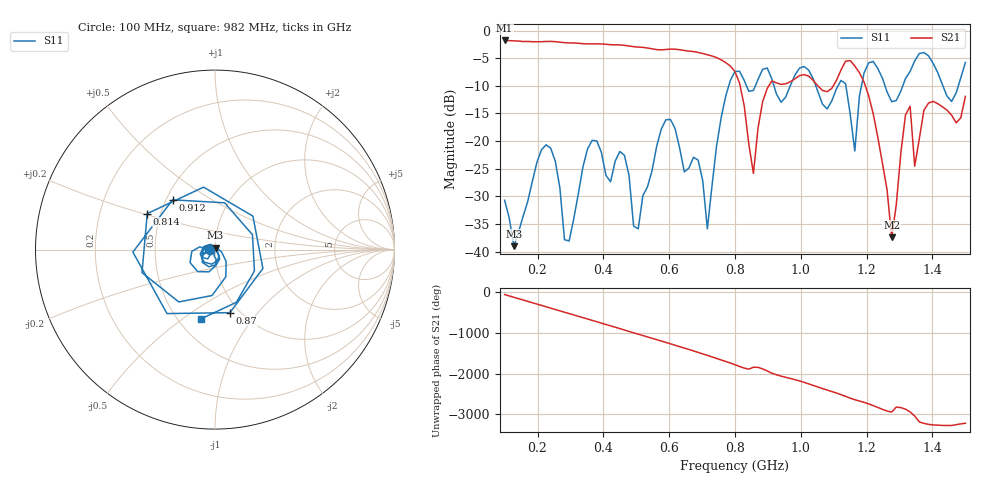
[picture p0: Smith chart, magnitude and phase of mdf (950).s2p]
! NanoVNA-App
! Date: 2025-09-25 15:45:49
! Start: 100MHz Stop: 1,5GHz Points: 101
! S-Parameter data: F S11 S21 S12 S22
# Hz S RI R 50
!  Frequency  S11_Real  S11_Imag  S21_Real  S21_Imag  S12_Real  S12_Imag  S22_Real  S22_Imag
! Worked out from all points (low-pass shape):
!   101 points, 100 MHz to 1.5 GHz, reference 50 ohm
!   highest |S21| = -1.80 dB at 100 MHz (marker M1); lowest = -37.4 dB at 1.276 GHz (marker M2)
!   |S21| within 3 dB of the highest: start of sweep to 739.5 MHz
!   lowest |S11| = -39.0 dB at 128 MHz (marker M3), VSWR 1.02, Z = 50.3 + j1.07 ohm
!   |S11| at or under -10 dB: start of sweep to 781.1 MHz; 1.045 GHz to 1.113 GHz (67.86 MHz wide, 6.29 % of centre); 1.256 GHz to 1.31 GHz (54.2 MHz wide, 4.22 % of centre) (the widest 3 of 7)
!   S12 and S22 are empty: the file has one direction only
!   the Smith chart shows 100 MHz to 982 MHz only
!   S11 on the Smith chart (normalised r, x): 100 MHz: 0.94, -0.01; 814 MHz: 0.42, +0.21; 870 MHz: 0.90, -0.73; 912 MHz: 0.54, +0.35; 982 MHz: 0.64, -0.59
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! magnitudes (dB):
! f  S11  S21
! 100 MHz  -30.7  -1.8
! 128 MHz  -39.0  -1.9
! 212 MHz  -21.6  -2.0
! 282 MHz  -37.8  -2.2
! 338 MHz  -24.7  -2.4
! 464 MHz  -22.6  -2.7
! 506 MHz  -35.9  -3.0
! 576 MHz  -17.8  -3.5
! 716 MHz  -35.9  -4.4
! 800 MHz  -7.4  -7.4
! 814 MHz  -7.4  -9.5
! 856 MHz  -10.8  -25.9
! 870 MHz  -8.8  -17.6
! 912 MHz  -8.8  -9.1
! 982 MHz  -8.1  -8.7
! 1.038 GHz  -8.8  -9.1
! 1.164 GHz  -21.8  -6.4
! 1.178 GHz  -11.9  -7.6
! 1.276 GHz  -12.9  -37.4
! 1.318 GHz  -8.7  -15.3
! 1.346 GHz  -5.5  -24.6
! 1.5 GHz  -5.8  -11.9
